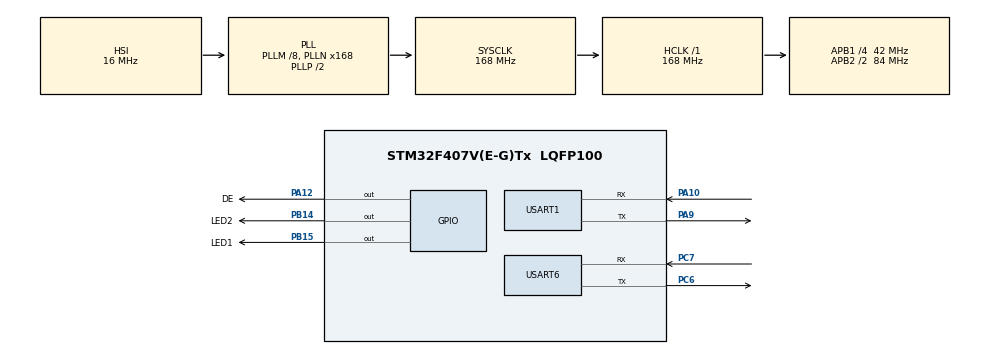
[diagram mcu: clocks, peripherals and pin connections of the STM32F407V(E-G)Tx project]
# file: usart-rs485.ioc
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Mcu.Family=STM32F4
Mcu.Name=STM32F407V(E-G)Tx
Mcu.Package=LQFP100
NVIC.PriorityGroup=NVIC_PRIORITYGROUP_4
NVIC.USART1_IRQn=true\:0\:0\:false\:false\:true\:true\:true
NVIC.USART6_IRQn=true\:0\:0\:false\:false\:true\:true\:true
PA10.Mode=Asynchronous
PA10.Signal=USART1_RX
PA12.GPIO_Label=DE
PA12.Signal=GPIO_Output
PA13.Mode=Serial_Wire
PA13.Signal=SYS_JTMS-SWDIO
PA14.Mode=Serial_Wire
PA14.Signal=SYS_JTCK-SWCLK
PA9.Mode=Asynchronous
PA9.Signal=USART1_TX
PB14.GPIO_Label=LED2
PB14.Signal=GPIO_Output
PB15.GPIO_Label=LED1
PB15.Signal=GPIO_Output
PC6.Mode=Asynchronous
PC6.Signal=USART6_TX
PC7.Mode=Asynchronous
PC7.Signal=USART6_RX
ProjectManager.HeapSize=0x200
ProjectManager.StackSize=0x400
ProjectManager.TargetToolchain=MDK-ARM V5.27
RCC.48MHZClocksFreq_Value=84000000
RCC.AHBFreq_Value=168000000
RCC.APB1CLKDivider=RCC_HCLK_DIV4
RCC.APB1Freq_Value=42000000
RCC.APB1TimFreq_Value=84000000
RCC.APB2CLKDivider=RCC_HCLK_DIV2
RCC.APB2Freq_Value=84000000
RCC.APB2TimFreq_Value=168000000
RCC.CortexFreq_Value=168000000
RCC.HCLKFreq_Value=168000000
RCC.HSE_VALUE=25000000
RCC.HSI_VALUE=16000000
RCC.LSE_VALUE=32768
RCC.PLLM=8
RCC.PLLN=168
RCC.SYSCLKFreq_VALUE=168000000
RCC.SYSCLKSource=RCC_SYSCLKSOURCE_PLLCLK
RCC.VCOOutputFreq_Value=336000000
USART1.VirtualMode=VM_ASYNC
USART6.VirtualMode=VM_ASYNC
board=custom

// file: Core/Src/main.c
/* USER CODE BEGIN Header */
/**
  ******************************************************************************
  * @file           : main.c
  * @brief          : Main program body
  ******************************************************************************
  * @attention
  *
  * <h2><center>&copy; Copyright (c) 2021 STMicroelectronics.
  * All rights reserved.</center></h2>
  *
  * This software component is licensed by ST under BSD 3-Clause license,
  * the "License"; You may not use this file except in compliance with the
  * License. You may obtain a copy of the License at:
  *                        opensource.org/licenses/BSD-3-Clause
  *
  ******************************************************************************
  */
/* USER CODE END Header */
#include "main.h"
#include "usart.h"
#include "gpio.h"

/* USER CODE BEGIN Includes */
#include "string.h"
/* USER CODE END Includes */

/* USER CODE BEGIN PD */
#define S
/* USER CODE END PD */

void SystemClock_Config(void);
/* USER CODE BEGIN PFP */
extern UART_HandleTypeDef huart1;
extern UART_HandleTypeDef huart6;
uint8_t rx,uart_rx_buff[5],count = 0,flag = 0;
/* USER CODE END PFP */

/* USER CODE BEGIN 0 */
void HAL_UART_RxCpltCallback(UART_HandleTypeDef *huart)
{
#ifdef M
   if(huart->Instance == USART6)
	 {
	   HAL_UART_Receive_IT(&huart6,&rx,1);
		 uart_rx_buff[count++] = rx;
		 if(rx == 0x0d)
		 {
		   flag = 1;
		   count = 0;
		 }
	 }
#endif

#ifdef S
	 if(huart->Instance == USART1)
	 {
	   HAL_UART_Receive_IT(&huart1,&rx,1);
		 uart_rx_buff[count++] = rx;
		 if(rx == 0x0d)
		 {
		   flag = 1;
		   count = 0;
		 }

	 }
#endif

}
/* USER CODE END 0 */

int main(void)
{

  /* MCU Configuration--------------------------------------------------------*/

  /* Reset of all peripherals, Initializes the Flash interface and the Systick. */
  HAL_Init();

  /* Configure the system clock */
  SystemClock_Config();

  /* Initialize all configured peripherals */
  MX_GPIO_Init();
  MX_USART1_UART_Init();
  MX_USART6_UART_Init();
	#ifdef M
  HAL_GPIO_WritePin(DE_GPIO_Port,DE_Pin,1);
	HAL_UART_Receive_IT(&huart6,&rx,1);
	#endif

	#ifdef S
	HAL_GPIO_WritePin(DE_GPIO_Port,DE_Pin,0);
	HAL_UART_Receive_IT(&huart1,&rx,1);
	#endif
  /* Infinite loop */
  while (1)
  {

    /* USER CODE BEGIN 3 */
		if(flag)
		{
			if(uart_rx_buff[0] == '1') {HAL_GPIO_WritePin(LED1_GPIO_Port,LED1_Pin,1);}
			if(uart_rx_buff[0] == '2') {HAL_GPIO_WritePin(LED2_GPIO_Port,LED2_Pin,1);}

			#ifdef M
			HAL_UART_Transmit(&huart1,uart_rx_buff,strlen((char*) uart_rx_buff),1000);
			#endif
		  flag = 0;
			memset(uart_rx_buff,0,sizeof(uart_rx_buff));

		}
  }
  /* USER CODE END 3 */
}

void SystemClock_Config(void)
{
  RCC_OscInitTypeDef RCC_OscInitStruct = {0};
  RCC_ClkInitTypeDef RCC_ClkInitStruct = {0};

  /** Configure the main internal regulator output voltage
  */
  __HAL_RCC_PWR_CLK_ENABLE();
  __HAL_PWR_VOLTAGESCALING_CONFIG(PWR_REGULATOR_VOLTAGE_SCALE1);
  /** Initializes the RCC Oscillators according to the specified parameters
  * in the RCC_OscInitTypeDef structure.
  */
  RCC_OscInitStruct.OscillatorType = RCC_OSCILLATORTYPE_HSI;
  RCC_OscInitStruct.HSIState = RCC_HSI_ON;
  RCC_OscInitStruct.HSICalibrationValue = RCC_HSICALIBRATION_DEFAULT;
  RCC_OscInitStruct.PLL.PLLState = RCC_PLL_ON;
  RCC_OscInitStruct.PLL.PLLSource = RCC_PLLSOURCE_HSI;
  RCC_OscInitStruct.PLL.PLLM = 8;
  RCC_OscInitStruct.PLL.PLLN = 168;
  RCC_OscInitStruct.PLL.PLLP = RCC_PLLP_DIV2;
  RCC_OscInitStruct.PLL.PLLQ = 4;
  if (HAL_RCC_OscConfig(&RCC_OscInitStruct) != HAL_OK)
  {
    Error_Handler();
  }
  /** Initializes the CPU, AHB and APB buses clocks
  */
  RCC_ClkInitStruct.ClockType = RCC_CLOCKTYPE_HCLK|RCC_CLOCKTYPE_SYSCLK
                              |RCC_CLOCKTYPE_PCLK1|RCC_CLOCKTYPE_PCLK2;
  RCC_ClkInitStruct.SYSCLKSource = RCC_SYSCLKSOURCE_PLLCLK;
  RCC_ClkInitStruct.AHBCLKDivider = RCC_SYSCLK_DIV1;
  RCC_ClkInitStruct.APB1CLKDivider = RCC_HCLK_DIV4;
  RCC_ClkInitStruct.APB2CLKDivider = RCC_HCLK_DIV2;

  if (HAL_RCC_ClockConfig(&RCC_ClkInitStruct, FLASH_LATENCY_5) != HAL_OK)
  {
    Error_Handler();
  }
}

void Error_Handler(void)
{
  __disable_irq();
  while (1)
  {
  }
}

/************************ (C) COPYRIGHT STMicroelectronics *****END OF FILE****/
